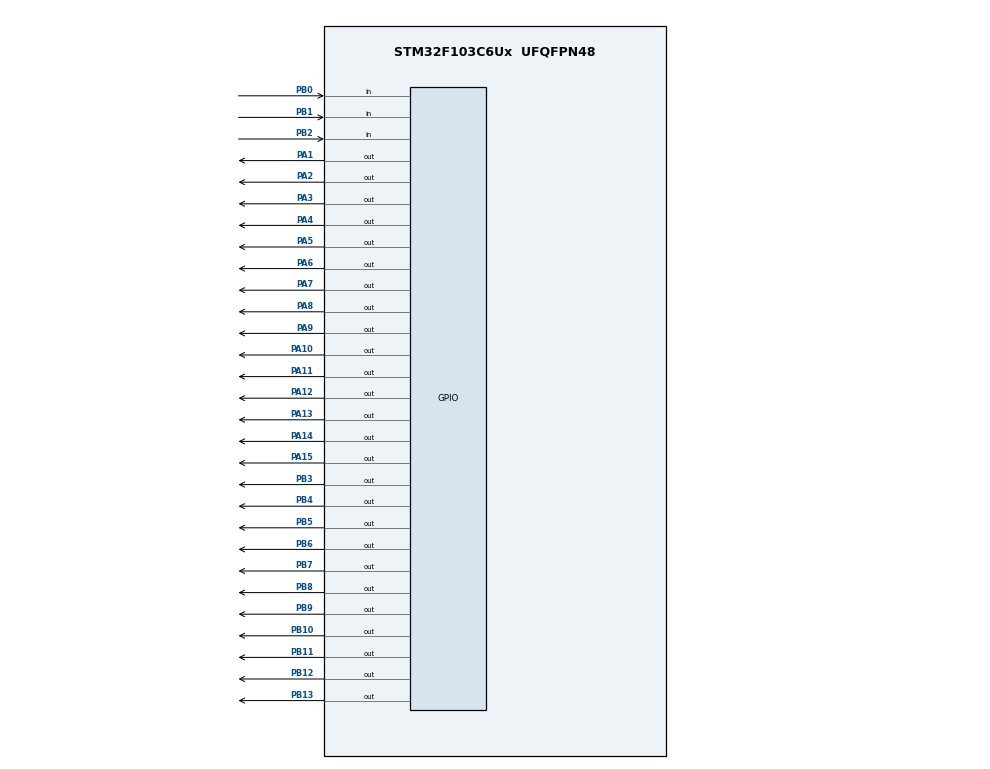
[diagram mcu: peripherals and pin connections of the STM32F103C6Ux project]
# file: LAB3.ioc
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Mcu.Family=STM32F1
Mcu.Name=STM32F103C6Ux
Mcu.Package=UFQFPN48
NVIC.PriorityGroup=NVIC_PRIORITYGROUP_4
NVIC.TIM2_IRQn=true\:0\:0\:false\:false\:true\:true\:true
PA1.Signal=GPIO_Output
PA10.Signal=GPIO_Output
PA11.Signal=GPIO_Output
PA12.Signal=GPIO_Output
PA13.Signal=GPIO_Output
PA14.Signal=GPIO_Output
PA15.Signal=GPIO_Output
PA2.Signal=GPIO_Output
PA3.Signal=GPIO_Output
PA4.Signal=GPIO_Output
PA5.Signal=GPIO_Output
PA6.Signal=GPIO_Output
PA7.Signal=GPIO_Output
PA8.Signal=GPIO_Output
PA9.Signal=GPIO_Output
PB0.Signal=GPIO_Input
PB1.Signal=GPIO_Input
PB10.Signal=GPIO_Output
PB11.Signal=GPIO_Output
PB12.Signal=GPIO_Output
PB13.Signal=GPIO_Output
PB2.Signal=GPIO_Input
PB3.Signal=GPIO_Output
PB4.Signal=GPIO_Output
PB5.Signal=GPIO_Output
PB6.Signal=GPIO_Output
PB7.Signal=GPIO_Output
PB8.Signal=GPIO_Output
PB9.Signal=GPIO_Output
ProjectManager.HeapSize=0x200
ProjectManager.StackSize=0x400
ProjectManager.TargetToolchain=STM32CubeIDE
RCC.APB1Freq_Value=8000000
RCC.APB2Freq_Value=8000000
TIM2.Period=9
TIM2.Prescaler=7999
VP_SYS_VS_ND.Mode=No_Debug
VP_TIM2_VS_ClockSourceINT.Mode=Internal
board=custom

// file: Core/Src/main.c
/* USER CODE BEGIN Header */
/**
  ******************************************************************************
  * @file           : main.c
  * @brief          : Main program body
  ******************************************************************************
  * @attention
  *
  * <h2><center>&copy; Copyright (c) 2021 STMicroelectronics.
  * All rights reserved.</center></h2>
  *
  * This software component is licensed by ST under BSD 3-Clause license,
  * the "License"; You may not use this file except in compliance with the
  * License. You may obtain a copy of the License at:
  *                        opensource.org/licenses/BSD-3-Clause
  *
  ******************************************************************************
  */
/* USER CODE END Header */
#include "main.h"

/* USER CODE BEGIN Includes */
#include "input_processing.h"
#include "input_reading.h"
#include "timer.h"
#include "traffic_led_control.h"
#include "led_display.h"
/* USER CODE END Includes */

TIM_HandleTypeDef htim2;

void SystemClock_Config(void);
static void MX_GPIO_Init(void);
static void MX_TIM2_Init(void);

int main(void)
{

  /* MCU Configuration--------------------------------------------------------*/

  /* Reset of all peripherals, Initializes the Flash interface and the Systick. */
  HAL_Init();

  /* Configure the system clock */
  SystemClock_Config();

  /* Initialize all configured peripherals */
  MX_GPIO_Init();
  MX_TIM2_Init();
  /* USER CODE BEGIN 2 */
  HAL_TIM_Base_Start_IT (&htim2 );
  reading_Init();
  LED_TRAFFIC_INIT();
  LED_TRAFFIC_STORE_BUFFER(5, RED);
  LED_TRAFFIC_STORE_BUFFER(2, AMBER);
  LED_TRAFFIC_STORE_BUFFER(3, GREEN);
  LED_TRAFFIC_LOAD_BUFFER();
  /* USER CODE END 2 */

  /* Infinite loop */
  /* USER CODE BEGIN WHILE */
  setTimer(1000);
  while (1)
  {
	 fsm_for_input_processing ();
    /* USER CODE END WHILE */

  }
}

void SystemClock_Config(void)
{
  RCC_OscInitTypeDef RCC_OscInitStruct = {0};
  RCC_ClkInitTypeDef RCC_ClkInitStruct = {0};

  /** Initializes the RCC Oscillators according to the specified parameters
  * in the RCC_OscInitTypeDef structure.
  */
  RCC_OscInitStruct.OscillatorType = RCC_OSCILLATORTYPE_HSI;
  RCC_OscInitStruct.HSIState = RCC_HSI_ON;
  RCC_OscInitStruct.HSICalibrationValue = RCC_HSICALIBRATION_DEFAULT;
  RCC_OscInitStruct.PLL.PLLState = RCC_PLL_NONE;
  if (HAL_RCC_OscConfig(&RCC_OscInitStruct) != HAL_OK)
  {
    Error_Handler();
  }
  /** Initializes the CPU, AHB and APB buses clocks
  */
  RCC_ClkInitStruct.ClockType = RCC_CLOCKTYPE_HCLK|RCC_CLOCKTYPE_SYSCLK
                              |RCC_CLOCKTYPE_PCLK1|RCC_CLOCKTYPE_PCLK2;
  RCC_ClkInitStruct.SYSCLKSource = RCC_SYSCLKSOURCE_HSI;
  RCC_ClkInitStruct.AHBCLKDivider = RCC_SYSCLK_DIV1;
  RCC_ClkInitStruct.APB1CLKDivider = RCC_HCLK_DIV1;
  RCC_ClkInitStruct.APB2CLKDivider = RCC_HCLK_DIV1;

  if (HAL_RCC_ClockConfig(&RCC_ClkInitStruct, FLASH_LATENCY_0) != HAL_OK)
  {
    Error_Handler();
  }
}

static void MX_TIM2_Init(void)
{

  TIM_ClockConfigTypeDef sClockSourceConfig = {0};
  TIM_MasterConfigTypeDef sMasterConfig = {0};

  htim2.Instance = TIM2;
  htim2.Init.Prescaler = 7999;
  htim2.Init.CounterMode = TIM_COUNTERMODE_UP;
  htim2.Init.Period = 9;
  htim2.Init.ClockDivision = TIM_CLOCKDIVISION_DIV1;
  htim2.Init.AutoReloadPreload = TIM_AUTORELOAD_PRELOAD_DISABLE;
  if (HAL_TIM_Base_Init(&htim2) != HAL_OK)
  {
    Error_Handler();
  }
  sClockSourceConfig.ClockSource = TIM_CLOCKSOURCE_INTERNAL;
  if (HAL_TIM_ConfigClockSource(&htim2, &sClockSourceConfig) != HAL_OK)
  {
    Error_Handler();
  }
  sMasterConfig.MasterOutputTrigger = TIM_TRGO_RESET;
  sMasterConfig.MasterSlaveMode = TIM_MASTERSLAVEMODE_DISABLE;
  if (HAL_TIMEx_MasterConfigSynchronization(&htim2, &sMasterConfig) != HAL_OK)
  {
    Error_Handler();
  }

}

static void MX_GPIO_Init(void)
{
  GPIO_InitTypeDef GPIO_InitStruct = {0};

  /* GPIO Ports Clock Enable */
  __HAL_RCC_GPIOA_CLK_ENABLE();
  __HAL_RCC_GPIOB_CLK_ENABLE();

  /*Configure GPIO pin Output Level */
  HAL_GPIO_WritePin(GPIOA, GPIO_PIN_1|GPIO_PIN_2|GPIO_PIN_3|GPIO_PIN_4
                          |GPIO_PIN_5|GPIO_PIN_6|GPIO_PIN_7|GPIO_PIN_8
                          |GPIO_PIN_9|GPIO_PIN_10|GPIO_PIN_11|GPIO_PIN_12
                          |GPIO_PIN_13|GPIO_PIN_14|GPIO_PIN_15, GPIO_PIN_RESET);

  /*Configure GPIO pin Output Level */
  HAL_GPIO_WritePin(GPIOB, GPIO_PIN_10|GPIO_PIN_11|GPIO_PIN_12|GPIO_PIN_13
                          |GPIO_PIN_3|GPIO_PIN_4|GPIO_PIN_5|GPIO_PIN_6
                          |GPIO_PIN_7|GPIO_PIN_8|GPIO_PIN_9, GPIO_PIN_RESET);

  /*Configure GPIO pins : PA1 PA2 PA3 PA4
                           PA5 PA6 PA7 PA8
                           PA9 PA10 PA11 PA12
                           PA13 PA14 PA15 */
  GPIO_InitStruct.Pin = GPIO_PIN_1|GPIO_PIN_2|GPIO_PIN_3|GPIO_PIN_4
                          |GPIO_PIN_5|GPIO_PIN_6|GPIO_PIN_7|GPIO_PIN_8
                          |GPIO_PIN_9|GPIO_PIN_10|GPIO_PIN_11|GPIO_PIN_12
                          |GPIO_PIN_13|GPIO_PIN_14|GPIO_PIN_15;
  GPIO_InitStruct.Mode = GPIO_MODE_OUTPUT_PP;
  GPIO_InitStruct.Pull = GPIO_NOPULL;
  GPIO_InitStruct.Speed = GPIO_SPEED_FREQ_LOW;
  HAL_GPIO_Init(GPIOA, &GPIO_InitStruct);

  /*Configure GPIO pins : PB0 PB1 PB2 */
  GPIO_InitStruct.Pin = GPIO_PIN_0|GPIO_PIN_1|GPIO_PIN_2;
  GPIO_InitStruct.Mode = GPIO_MODE_INPUT;
  GPIO_InitStruct.Pull = GPIO_NOPULL;
  HAL_GPIO_Init(GPIOB, &GPIO_InitStruct);

  /*Configure GPIO pins : PB10 PB11 PB12 PB13
                           PB3 PB4 PB5 PB6
                           PB7 PB8 PB9 */
  GPIO_InitStruct.Pin = GPIO_PIN_10|GPIO_PIN_11|GPIO_PIN_12|GPIO_PIN_13
                          |GPIO_PIN_3|GPIO_PIN_4|GPIO_PIN_5|GPIO_PIN_6
                          |GPIO_PIN_7|GPIO_PIN_8|GPIO_PIN_9;
  GPIO_InitStruct.Mode = GPIO_MODE_OUTPUT_PP;
  GPIO_InitStruct.Pull = GPIO_NOPULL;
  GPIO_InitStruct.Speed = GPIO_SPEED_FREQ_LOW;
  HAL_GPIO_Init(GPIOB, &GPIO_InitStruct);

}

/* USER CODE BEGIN 4 */
void HAL_TIM_PeriodElapsedCallback ( TIM_HandleTypeDef * htim )
{
	timer_run();
}
/* USER CODE END 4 */

void Error_Handler(void)
{
  __disable_irq();
  while (1)
  {
  }
}

/************************ (C) COPYRIGHT STMicroelectronics *****END OF FILE****/
